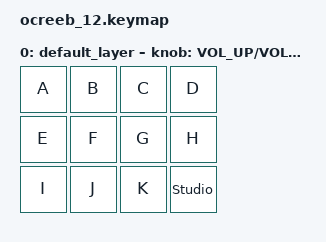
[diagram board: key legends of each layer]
// This file was generated from a template. Edit it to match your keyboard.
// See https://zmk.dev/docs/development/hardware-integration/new-shield for more instructions.

#include <behaviors.dtsi>
#include <dt-bindings/zmk/keys.h>

/ {
    // Define a default keymap here.
    // See https://zmk.dev/docs/development/hardware-integration/new-shield#default-keymap.
    keymap {
        compatible = "zmk,keymap";

        default_layer {
            // | A | B | C | D |
            // | E | F | G | H |
            // | I | J | K | 
            bindings = <
                &kp A &kp B &kp C &kp D
                &kp E &kp F &kp G &kp H
                &kp I &kp J &kp K &studio_unlock
            >;

            sensor-bindings = <&inc_dec_kp C_VOL_UP C_VOL_DN &inc_dec_kp PG_UP PG_DN>;
        };
    };
};
